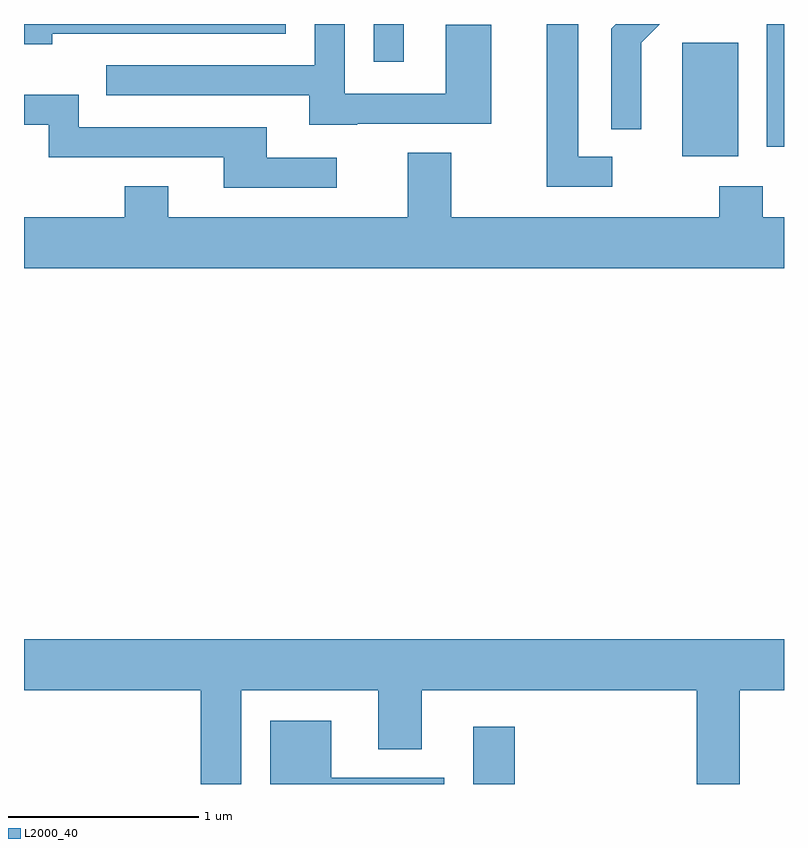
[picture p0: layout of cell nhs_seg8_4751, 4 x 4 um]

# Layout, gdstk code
import gdstk
lib = gdstk.Library(unit=1e-6, precision=1e-09)
def R(c, l, rs):  # rectangles x0, y0, x1, y1
    for r in rs: c.add(gdstk.rectangle(r[:2], r[2:], *l))
def P(c, l, *ps):  # polygons
    for p in ps: c.add(gdstk.Polygon(p, *l))
L2000_40 = (2000, 40)

nhs_seg8_4751 = lib.new_cell('nhs_seg8_4751')
R(nhs_seg8_4751, L2000_40, [(329.976,1860.342,330.194,1860.644), (331.076,1863.646,331.369,1864.244), (331.521,1863.696,331.611,1864.342), (329.451,1864.143,329.609,1864.342)])
P(nhs_seg8_4751, L2000_40, [(329.365,1863.816),(330.069,1863.816),(330.069,1864.339),(329.831,1864.339),(329.831,1863.974),(329.299,1863.974),(329.299,1864.342),(329.141,1864.342),(329.141,1864.124),(328.043,1864.124),(328.043,1863.966),(329.111,1863.966),(329.111,1863.811),(329.365,1863.811)],
  [(330.859,1864.244),(330.957,1864.342),(330.726,1864.342),(330.701,1864.317),(330.701,1863.788),(330.859,1863.788)],
  [(327.759,1864.291),(328.989,1864.291),(328.989,1864.342),(327.611,1864.342),(327.611,1864.236),(327.759,1864.236)],
  [(330.708,1863.644),(330.529,1863.644),(330.529,1864.342),(330.361,1864.342),(330.361,1863.486),(330.708,1863.486)],
  [(329.258,1863.639),(328.889,1863.639),(328.889,1863.799),(327.899,1863.799),(327.899,1863.969),(327.611,1863.969),(327.611,1863.811),(327.741,1863.811),(327.741,1863.641),(328.661,1863.641),(328.661,1863.481),(329.258,1863.481)],
  [(331.611,1863.324),(331.499,1863.324),(331.499,1863.489),(331.271,1863.489),(331.271,1863.324),(329.859,1863.324),(329.859,1863.664),(329.631,1863.664),(329.631,1863.324),(328.369,1863.324),(328.369,1863.489),(328.141,1863.489),(328.141,1863.324),(327.611,1863.324),(327.611,1863.056),(331.611,1863.056)],
  [(328.754,1860.836),(329.476,1860.836),(329.476,1860.526),(329.704,1860.526),(329.704,1860.836),(331.151,1860.836),(331.151,1860.342),(331.379,1860.342),(331.379,1860.836),(331.611,1860.836),(331.611,1861.104),(327.611,1861.104),(327.611,1860.836),(328.541,1860.836),(328.541,1860.342),(328.754,1860.342)],
  [(329.824,1860.374),(329.229,1860.374),(329.229,1860.674),(328.906,1860.674),(328.906,1860.342),(329.824,1860.342)])

lib.write_gds('nhs_seg8_4751.gds')
